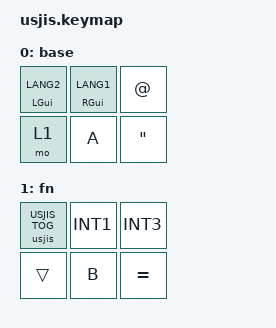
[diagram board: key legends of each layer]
/*
 * SPDX-License-Identifier: GPL-3.0-or-later
 */

/*
 * IME-flavoured keymap for the TC32 build check: mod-taps that send
 * LANG2/LANG1 on tap and GUI on hold, US-JIS substitution (zmk-kb1-usjis) with its
 * toggle on layer 1, keys it substitutes (@ and "), and the JIS INT1/INT3 keys.
 */
#include <behaviors.dtsi>
#include <dt-bindings/zmk/keys.h>
#include <dt-bindings/zmk/usjis.h>

/ {
    behaviors {
        usjis: usjis {
            compatible = "zmk,behavior-usjis";
            #binding-cells = <1>;
        };
    };

    keymap {
        compatible = "zmk,keymap";

        base {
            bindings = <
                &mt LEFT_GUI LANG2  &mt RIGHT_GUI LANG1  &kp AT_SIGN
                &mo 1               &kp A                &kp DOUBLE_QUOTES
            >;
        };

        fn {
            bindings = <
                &usjis USJIS_TOG  &kp INT1  &kp INT3
                &trans            &kp B     &kp EQUAL
            >;
        };
    };
};
